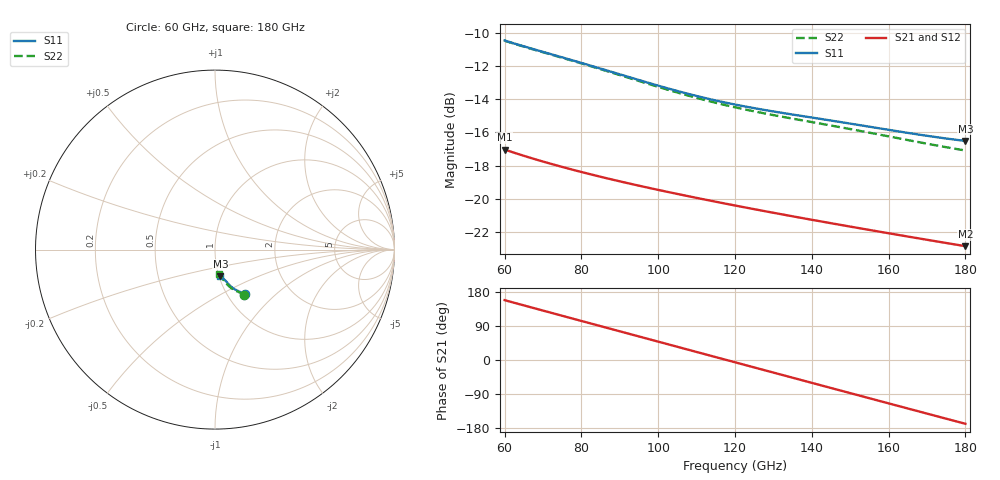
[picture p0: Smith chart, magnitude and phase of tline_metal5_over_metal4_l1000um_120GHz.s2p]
#  GHZ S DB R 50
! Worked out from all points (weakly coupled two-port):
!   101 points, 60 GHz to 180 GHz, reference 50 ohm
!   highest |S21| = -17.04 dB at 60 GHz (marker M1); lowest = -22.8 dB at 180 GHz (marker M2)
!   lowest |S11| = -16.5 dB at 180 GHz (marker M3), VSWR 1.35, Z = 50.9 - j15.2 ohm
!   |S11| at or under -10 dB: start of sweep to end of sweep
!   |S22| runs from -17.1 to -10.5 dB; largest |S21 - S12| = 1.5e-13
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60  -10.47 -55.9  -17.04 157.9  -17.04 157.9  -10.49 -56.9
66  -10.89 -57.7  -17.48 141.4  -17.48 141.4  -10.91 -58.7
70.8  -11.21 -59.1  -17.81 128.2  -17.81 128.2  -11.23 -60.3
75.6  -11.53 -60.7  -18.12 115.1  -18.12 115.1  -11.56 -61.9
80.4  -11.85 -62.2  -18.41 101.9  -18.41 101.9  -11.88 -63.6
85.2  -12.18 -63.6  -18.68 88.8  -18.68 88.8  -12.21 -65.1
90  -12.51 -65.0  -18.95 75.7  -18.95 75.7  -12.55 -66.6
94.8  -12.84 -66.1  -19.20 62.6  -19.20 62.6  -12.90 -67.9
100.8  -13.24 -67.4  -19.50 46.3  -19.50 46.3  -13.32 -69.4
105.6  -13.55 -68.2  -19.74 33.2  -19.74 33.2  -13.64 -70.3
110.4  -13.83 -68.9  -19.96 20.1  -19.96 20.1  -13.95 -71.1
115.2  -14.09 -69.5  -20.18 7.0  -20.18 7.0  -14.23 -71.8
120  -14.33 -70.1  -20.40 -6.0  -20.40 -6.0  -14.49 -72.5
124.8  -14.54 -70.6  -20.61 -19.0  -20.61 -19.0  -14.73 -73.1
130.8  -14.77 -71.4  -20.87 -35.3  -20.87 -35.3  -15.00 -74.0
140.4  -15.12 -72.9  -21.28 -61.4  -21.28 -61.4  -15.40 -75.6
145.2  -15.30 -73.6  -21.48 -74.4  -21.48 -74.4  -15.60 -76.4
150  -15.47 -74.4  -21.67 -87.4  -21.67 -87.4  -15.80 -77.3
154.8  -15.65 -75.2  -21.86 -100.4  -21.86 -100.4  -16.01 -78.1
160.8  -15.88 -76.1  -22.10 -116.6  -22.10 -116.6  -16.28 -79.0
170.4  -16.22 -77.2  -22.48 -142.5  -22.48 -142.5  -16.70 -80.3
180  -16.52 -78.2  -22.85 -168.3  -22.85 -168.3  -17.09 -81.3
